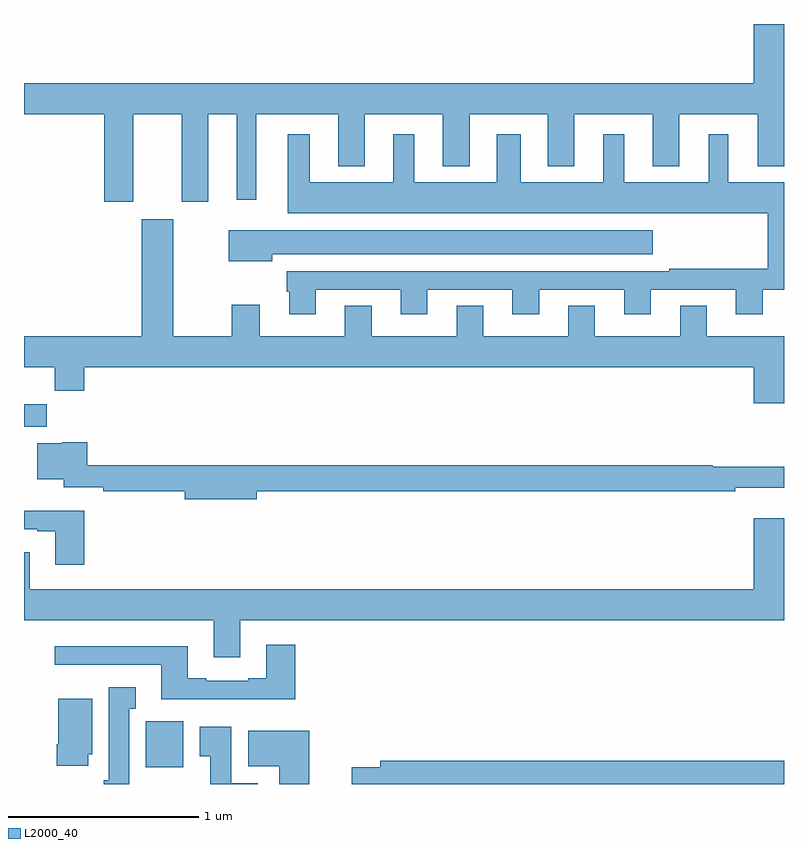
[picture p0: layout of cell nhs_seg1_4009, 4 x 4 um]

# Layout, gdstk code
import gdstk
lib = gdstk.Library(unit=1e-6, precision=1e-09)
def R(c, l, rs):  # rectangles x0, y0, x1, y1
    for r in rs: c.add(gdstk.rectangle(r[:2], r[2:], *l))
def P(c, l, *ps):  # polygons
    for p in ps: c.add(gdstk.Polygon(p, *l))
L2000_40 = (2000, 40)

nhs_seg1_4009 = lib.new_cell('nhs_seg1_4009')
R(nhs_seg1_4009, L2000_40, [(329.642,556.286,329.839,556.528), (329,558.08,329.12,558.199)])
P(nhs_seg1_4009, L2000_40, [(329,559.724),(329.423,559.724),(329.423,559.263),(329.575,559.263),(329.575,559.724),(329.831,559.724),(329.831,559.263),(329.971,559.263),(329.971,559.724),(330.119,559.724),(330.119,559.275),(330.223,559.275),(330.223,559.724),(330.653,559.724),(330.653,559.451),(330.793,559.451),(330.793,559.724),(331.205,559.724),(331.205,559.451),(331.345,559.451),(331.345,559.724),(331.757,559.724),(331.757,559.451),(331.897,559.451),(331.897,559.724),(332.309,559.724),(332.309,559.451),(332.449,559.451),(332.449,559.724),(332.861,559.724),(332.861,559.451),(333,559.451),(333,560.199),(332.84,560.199),(332.84,559.888),(329,559.888)],
  [(330.535,558.801),(330.983,558.801),(330.983,558.672),(331.123,558.672),(331.123,558.801),(331.571,558.801),(331.571,558.672),(331.711,558.672),(331.711,558.801),(332.159,558.801),(332.159,558.672),(332.299,558.672),(332.299,558.801),(332.747,558.801),(332.747,558.672),(332.887,558.672),(332.887,558.8),(333,558.8),(333,559.366),(332.707,559.366),(332.707,559.618),(332.603,559.618),(332.603,559.366),(332.158,559.366),(332.158,559.618),(332.048,559.618),(332.048,559.366),(331.615,559.366),(331.615,559.618),(331.487,559.618),(331.487,559.366),(331.054,559.366),(331.054,559.618),(330.944,559.618),(330.944,559.366),(330.505,559.366),(330.505,559.618),(330.389,559.618),(330.389,559.202),(332.915,559.202),(332.915,558.91),(332.395,558.91),(332.395,558.897),(330.383,558.897),(330.383,558.789),(330.395,558.789),(330.395,558.672),(330.535,558.672)],
  [(333,558.556),(332.593,558.556),(332.593,558.716),(332.453,558.716),(332.453,558.556),(332.005,558.556),(332.005,558.716),(331.865,558.716),(331.865,558.556),(331.417,558.556),(331.417,558.716),(331.277,558.716),(331.277,558.556),(330.829,558.556),(330.829,558.716),(330.689,558.716),(330.689,558.556),(330.241,558.556),(330.241,558.721),(330.094,558.721),(330.094,558.556),(329.785,558.556),(329.785,559.171),(329.621,559.171),(329.621,558.556),(329,558.556),(329,558.392),(329.161,558.392),(329.161,558.268),(329.318,558.268),(329.318,558.392),(332.84,558.392),(332.84,558.204),(333,558.204)],
  [(330.307,558.986),(332.308,558.986),(332.308,559.114),(330.078,559.114),(330.078,558.95),(330.307,558.95)],
  [(330.226,557.74),(332.744,557.74),(332.744,557.759),(333,557.759),(333,557.869),(332.626,557.869),(332.626,557.876),(329.333,557.876),(329.333,557.998),(329.202,557.998),(329.202,557.992),(329.069,557.992),(329.069,557.804),(329.21,557.804),(329.21,557.76),(329.416,557.76),(329.416,557.74),(329.846,557.74),(329.846,557.698),(330.226,557.698)],
  [(329.318,557.638),(329,557.638),(329,557.541),(329.069,557.541),(329.069,557.529),(329.165,557.529),(329.165,557.352),(329.318,557.352)],
  [(330.139,557.06),(333,557.06),(333,557.599),(332.84,557.599),(332.84,557.224),(329.029,557.224),(329.029,557.419),(329,557.419),(329,557.06),(329.999,557.06),(329.999,556.866),(330.139,556.866)],
  [(330.428,556.933),(330.275,556.933),(330.275,556.756),(330.179,556.756),(330.179,556.743),(329.959,556.743),(329.959,556.756),(329.863,556.756),(329.863,556.924),(329.163,556.924),(329.163,556.827),(329.723,556.827),(329.723,556.646),(330.428,556.646)],
  [(329.554,556.595),(329.587,556.595),(329.587,556.708),(329.447,556.708),(329.447,556.218),(329.42,556.218),(329.42,556.199),(329.554,556.199)],
  [(329.338,556.356),(329.359,556.356),(329.359,556.648),(329.18,556.648),(329.18,556.408),(329.173,556.408),(329.173,556.296),(329.338,556.296)],
  [(330.23,556.204),(330.091,556.204),(330.091,556.501),(329.924,556.501),(329.924,556.345),(329.981,556.345),(329.981,556.199),(330.23,556.199)],
  [(330.502,556.48),(330.179,556.48),(330.179,556.292),(330.344,556.292),(330.344,556.199),(330.502,556.199)],
  [(333,556.322),(330.875,556.322),(330.875,556.286),(330.726,556.286),(330.726,556.199),(333,556.199)])

lib.write_gds('nhs_seg1_4009.gds')
